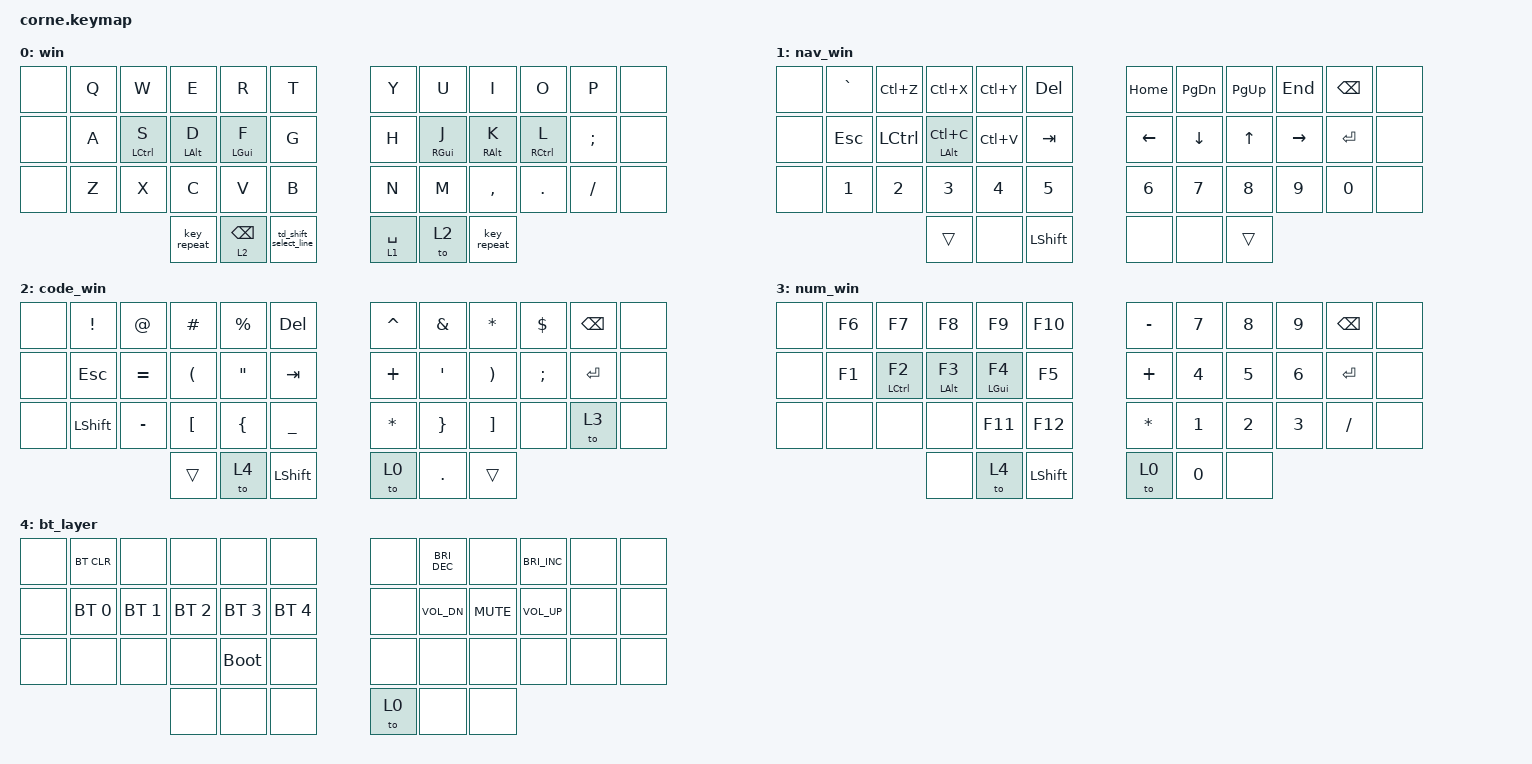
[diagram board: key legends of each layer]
#include <behaviors.dtsi>
#include <dt-bindings/zmk/bt.h>
#include <dt-bindings/zmk/keys.h>

// Layers

#define BASE 0
#define CODE 1
#define NUM 2
#define NAV 3
#define BT 4

// Behavior Overrides

&lt {
    tapping-term-ms = <200>;
    flavor = "hold-preferred";
};

&mt {
    flavor = "tap-preferred";
    tapping-term-ms = <250>;
};

/ {
    //combos {
    //  compatible = "zmk,combos";
    //combo_tab {
    //  timeout-ms = <20>;
    //  key-positions = <1 2>;
    //  bindings = <&kp TAB>;
    //};
    //  combo_enter {
    //    timeout-ms = <20>;
    //  key-positions = <13 14>;
    //bindings = <&kp ENTER>;
    //};
    //};

    macros {
        spotlight: spotlight {
            label = "spotlight";
            compatible = "zmk,behavior-macro";
            #binding-cells = <0>;
            bindings =
                <&macro_press>,
                <&kp LGUI>,
                <&macro_tap>,
                <&kp SPACE>,
                <&macro_release>,
                <&kp LGUI>;
        };

        // Emoji

        mac_emoji: mac_emoji {
            label = "mac_emoji";
            compatible = "zmk,behavior-macro";
            #binding-cells = <0>;
            bindings =
                <&macro_press>,
                <&kp LGUI>,
                <&macro_press>,
                <&kp LCTRL>,
                <&macro_tap>,
                <&kp SPACE>,
                <&macro_release>,
                <&kp LCTRL>,
                <&macro_release>,
                <&kp LGUI>;
        };

        win_emoji: win_emoji {
            label = "win_emoji";
            compatible = "zmk,behavior-macro";
            #binding-cells = <0>;
            bindings =
                <&macro_press>,
                <&kp LGUI>,
                <&macro_tap>,
                <&kp DOT>,
                <&macro_release>,
                <&kp LGUI>;
        };

        select_row: select_row {
            compatible = "zmk,behavior-macro";
            #binding-cells = <0>;
            bindings =
                <&kp HOME>,
                <&macro_press>,
                <&kp LSHIFT>,
                <&macro_tap>,
                <&kp END>,
                <&macro_release>,
                <&kp LSHIFT>;

            label = "SELECT_ROW";
        };
    };

    behaviors {
        td_multi_mac: tap_dance_multi_mac {
            compatible = "zmk,behavior-tap-dance";
            label = "TAP_DANCE_MULTI_MAC";
            #binding-cells = <0>;
            tapping-term-ms = <200>;
            bindings = <&kp ESC>, <&spotlight>, <&mac_emoji>;
        };

        td_multi_windows: tap_dance_multi_windows {
            compatible = "zmk,behavior-tap-dance";
            label = "TAP_DANCE_MULTI_WINDOWS";
            #binding-cells = <0>;
            tapping-term-ms = <200>;
            bindings = <&kp ESC>, <&kp LGUI>, <&win_emoji>;
        };

        bm: bottom_row_mods {
            compatible = "zmk,behavior-hold-tap";
            label = "BOTTOM_ROW_MODS";
            #binding-cells = <2>;
            tapping-term-ms = <135>;
            quick-tap-ms = <0>;
            flavor = "tap-preferred";
            bindings = <&kp>, <&kp>;
        };

        cm: code_row_mods {
            compatible = "zmk,behavior-hold-tap";
            label = "CODE_ROW_MODS";
            #binding-cells = <2>;
            tapping-term-ms = <200>;
            quick-tap-ms = <0>;
            flavor = "tap-preferred";
            bindings = <&kp>, <&kp>;

            retro-tap;
        };

        sm: space_mod {
            compatible = "zmk,behavior-hold-tap";
            label = "SPACE_MOD";
            #binding-cells = <2>;
            flavor = "balanced";
            tapping-term-ms = <200>;
            quick-tap-ms = <125>;
            bindings = <&kp>, <&kp>;
        };

        td_space_to_1: td_space_to_1 {
            compatible = "zmk,behavior-tap-dance";
            label = "TD_SPACE_TO_1";
            #binding-cells = <0>;
            bindings = <&lt 1 SPACE>, <&to 1>;

            tapping-term-ms = <200>;
        };

        td_esc_select_row: td_esc_select_row {
            compatible = "zmk,behavior-tap-dance";
            label = "TD_ESC_SELECT_ROW";
            #binding-cells = <0>;
            bindings = <&kp ESC>, <&select_row>;
        };

        td_shift_select_line: td_shift_select_line {
            compatible = "zmk,behavior-tap-dance";
            label = "TD_SHIFT_SELECT_LINE";
            #binding-cells = <0>;
            bindings = <&kp LEFT_SHIFT>, <&select_row>;
        };
    };

    combos {
        compatible = "zmk,combos";

        comob_enter_right {
            bindings = <&kp ENTER>;
            key-positions = <31 32>;
        };

        combo_delete_left {
            bindings = <&kp DEL>;
            key-positions = <3 2>;
        };

        combo_backspace_right {
            bindings = <&kp BSPC>;
            key-positions = <7 8>;
        };

        combo_to_bt_layer {
            bindings = <&to 4>;
            key-positions = <1 10>;
        };

        combo_backspace_left {
            bindings = <&kp BSPC>;
            key-positions = <3 4>;
        };

        combo_enter_left {
            bindings = <&kp ENTER>;
            key-positions = <28 27>;
        };

        combo_delete_right {
            bindings = <&kp DEL>;
            key-positions = <8 9>;
        };
    };

    keymap {
        compatible = "zmk,keymap";

        win {
            bindings = <
&none  &kp Q  &kp W        &kp E           &kp R            &kp T                    &kp Y        &kp U       &kp I        &kp O        &kp P          &none
&none  &kp A  &mt LCTRL S  &mt LEFT_ALT D  &mt LGUI F       &kp G                    &kp H        &mt RGUI J  &mt RALT K   &mt RCTRL L  &kp SEMICOLON  &none
&none  &kp Z  &kp X        &kp C           &kp V            &kp B                    &kp N        &kp M       &kp COMMA    &kp PERIOD   &kp SLASH      &none
                           &key_repeat     &lt 2 BACKSPACE  &td_shift_select_line    &lt 1 SPACE  &to 2       &key_repeat
            >;
        };

        nav_win {
            bindings = <
&none  &kp GRAVE     &kp LC(Z)     &kp LC(X)           &kp LC(Y)     &kp DELETE        &kp HOME      &kp PAGE_DOWN  &kp PAGE_UP   &kp END       &kp BACKSPACE  &none
&none  &kp ESCAPE    &kp LCTRL     &mt LEFT_ALT LC(C)  &kp LC(V)     &kp TAB           &kp LEFT      &kp DOWN       &kp UP_ARROW  &kp RIGHT     &kp ENTER      &none
&none  &kp NUMBER_1  &kp NUMBER_2  &kp NUMBER_3        &kp NUMBER_4  &kp NUMBER_5      &kp NUMBER_6  &kp NUMBER_7   &kp NUMBER_8  &kp NUMBER_9  &kp NUMBER_0   &none
                                   &trans              &none         &kp LEFT_SHIFT    &none         &none          &trans
            >;
        };

        code_win {
            bindings = <
&none  &kp EXCLAMATION  &kp AT     &kp HASH          &kp PERCENT        &kp DELETE        &kp CARET     &kp AMPS         &kp ASTERISK       &kp DOLLAR     &kp BACKSPACE  &none
&none  &kp ESCAPE       &kp EQUAL  &kp LPAR          &kp DOUBLE_QUOTES  &kp TAB           &kp PLUS      &kp SQT          &kp RPAR           &kp SEMICOLON  &kp ENTER      &none
&none  &kp LEFT_SHIFT   &kp MINUS  &kp LEFT_BRACKET  &kp LEFT_BRACE     &kp UNDERSCORE    &kp ASTERISK  &kp RIGHT_BRACE  &kp RIGHT_BRACKET  &none          &to 3          &none
                                   &trans            &to 4              &kp LEFT_SHIFT    &to 0         &kp PERIOD       &trans
            >;
        };

        num_win {
            bindings = <
&none  &kp F6  &kp F7        &kp F8       &kp F9       &kp F10           &kp MINUS     &kp NUMBER_7  &kp NUMBER_8  &kp NUMBER_9  &kp BACKSPACE  &none
&none  &kp F1  &mt LCTRL F2  &mt LALT F3  &mt LGUI F4  &kp F5            &kp PLUS      &kp NUMBER_4  &kp NUMBER_5  &kp NUMBER_6  &kp ENTER      &none
&none  &none   &none         &none        &kp F11      &kp F12           &kp ASTERISK  &kp NUMBER_1  &kp NUMBER_2  &kp NUMBER_3  &kp SLASH      &none
                             &none        &to 4        &kp LEFT_SHIFT    &to 0         &kp NUMBER_0  &none
            >;
        };

        bt_layer {
            bindings = <
&none  &bt BT_CLR    &none         &none         &none         &none           &none  &kp C_BRIGHTNESS_DEC  &none       &kp C_BRIGHTNESS_INC  &none  &none
&none  &bt BT_SEL 0  &bt BT_SEL 1  &bt BT_SEL 2  &bt BT_SEL 3  &bt BT_SEL 4    &none  &kp C_VOL_DN          &kp C_MUTE  &kp C_VOL_UP          &none  &none
&none  &none         &none         &none         &bootloader   &none           &none  &none                 &none       &none                 &none  &none
                                   &none         &none         &none           &to 0  &none                 &none
            >;
        };
    };
};
